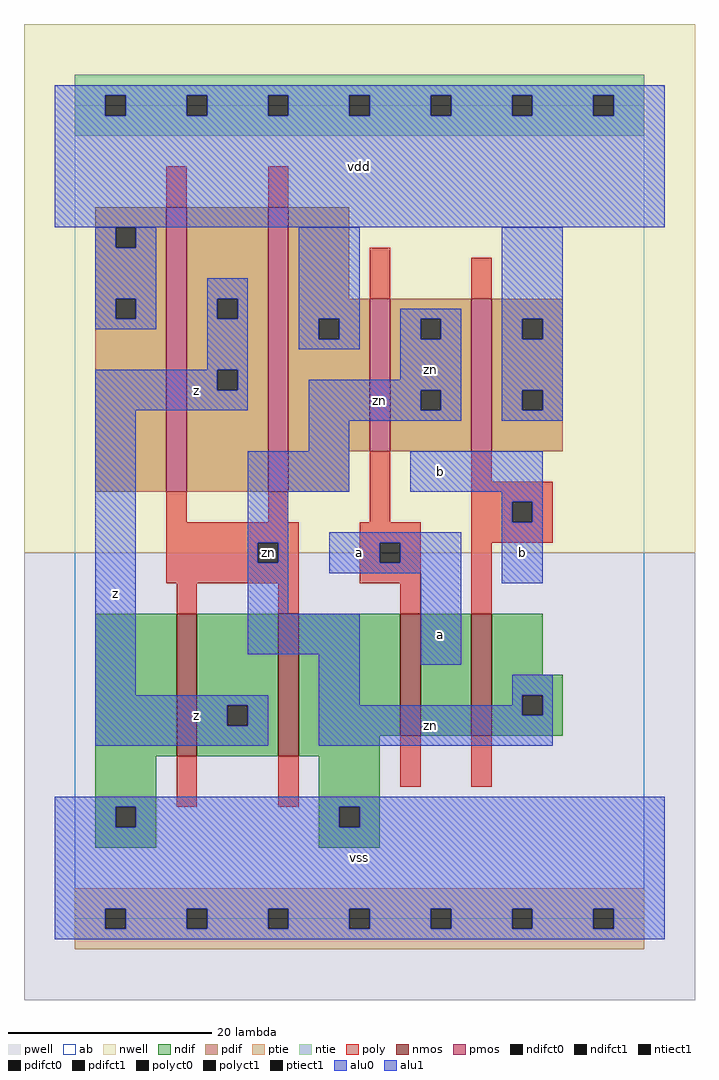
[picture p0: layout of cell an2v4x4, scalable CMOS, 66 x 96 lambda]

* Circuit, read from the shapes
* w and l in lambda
.subckt an2v4x4 a b vdd vss z zn
M1 z zn vss vss nfet w=14 l=2 m=2
M2 n1 a vss vss nfet w=12 l=2
M3 zn b n1 vss nfet w=12 l=2
M4 z zn vdd vdd pfet w=28 l=2 m=2
M5 zn a vdd vdd pfet w=15 l=2
M6 vdd b zn vdd pfet w=15 l=2
.ends

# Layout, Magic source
magic
tech scmos
<< ab >>
rect 0 0 56 80
<< nwell >>
rect -5 36 61 88
<< pwell >>
rect -5 -8 61 36
<< poly >>
rect 9 70 11 74
rect 19 70 21 74
rect 29 61 31 66
rect 39 61 41 65
rect 9 39 11 42
rect 19 39 21 42
rect 29 39 31 46
rect 39 43 41 46
rect 39 41 47 43
rect 39 39 43 41
rect 45 39 47 41
rect 9 37 22 39
rect 9 35 18 37
rect 20 35 22 37
rect 9 33 22 35
rect 28 37 34 39
rect 28 35 30 37
rect 32 35 34 37
rect 28 33 34 35
rect 10 30 12 33
rect 20 30 22 33
rect 32 30 34 33
rect 39 37 47 39
rect 39 30 41 37
rect 10 11 12 16
rect 20 11 22 16
rect 32 13 34 18
rect 39 13 41 18
<< ndif >>
rect 2 16 10 30
rect 12 21 20 30
rect 12 19 15 21
rect 17 19 20 21
rect 12 16 20 19
rect 22 18 32 30
rect 34 18 39 30
rect 41 24 46 30
rect 41 22 48 24
rect 41 20 44 22
rect 46 20 48 22
rect 41 18 48 20
rect 22 16 30 18
rect 2 11 8 16
rect 24 11 30 16
rect 2 9 4 11
rect 6 9 8 11
rect 2 7 8 9
rect 24 9 26 11
rect 28 9 30 11
rect 24 7 30 9
<< pdif >>
rect 2 68 9 70
rect 2 66 4 68
rect 6 66 9 68
rect 2 61 9 66
rect 2 59 4 61
rect 6 59 9 61
rect 2 42 9 59
rect 11 61 19 70
rect 11 59 14 61
rect 16 59 19 61
rect 11 54 19 59
rect 11 52 14 54
rect 16 52 19 54
rect 11 42 19 52
rect 21 61 27 70
rect 21 59 29 61
rect 21 57 24 59
rect 26 57 29 59
rect 21 46 29 57
rect 31 59 39 61
rect 31 57 34 59
rect 36 57 39 59
rect 31 52 39 57
rect 31 50 34 52
rect 36 50 39 52
rect 31 46 39 50
rect 41 59 48 61
rect 41 57 44 59
rect 46 57 48 59
rect 41 52 48 57
rect 41 50 44 52
rect 46 50 48 52
rect 41 46 48 50
rect 21 42 27 46
<< alu1 >>
rect -2 81 58 82
rect -2 79 3 81
rect 5 79 11 81
rect 13 79 19 81
rect 21 79 27 81
rect 29 79 35 81
rect 37 79 43 81
rect 45 79 51 81
rect 53 79 58 81
rect -2 68 58 79
rect 13 61 17 63
rect 13 59 14 61
rect 16 59 17 61
rect 13 54 17 59
rect 2 52 14 54
rect 16 52 17 54
rect 2 50 17 52
rect 2 22 6 50
rect 33 42 46 46
rect 42 41 46 42
rect 42 39 43 41
rect 45 39 46 41
rect 25 37 38 38
rect 25 35 30 37
rect 32 35 38 37
rect 25 34 38 35
rect 2 21 19 22
rect 2 19 15 21
rect 17 19 19 21
rect 2 17 19 19
rect 34 25 38 34
rect 42 33 46 39
rect -2 11 58 12
rect -2 9 4 11
rect 6 9 26 11
rect 28 9 58 11
rect -2 1 58 9
rect -2 -1 3 1
rect 5 -1 11 1
rect 13 -1 19 1
rect 21 -1 27 1
rect 29 -1 35 1
rect 37 -1 43 1
rect 45 -1 51 1
rect 53 -1 58 1
rect -2 -2 58 -1
<< ptie >>
rect 0 1 56 3
rect 0 -1 3 1
rect 5 -1 11 1
rect 13 -1 19 1
rect 21 -1 27 1
rect 29 -1 35 1
rect 37 -1 43 1
rect 45 -1 51 1
rect 53 -1 56 1
rect 0 -3 56 -1
<< ntie >>
rect 0 81 56 83
rect 0 79 3 81
rect 5 79 11 81
rect 13 79 19 81
rect 21 79 27 81
rect 29 79 35 81
rect 37 79 43 81
rect 45 79 51 81
rect 53 79 56 81
rect 0 77 56 79
<< nmos >>
rect 10 16 12 30
rect 20 16 22 30
rect 32 18 34 30
rect 39 18 41 30
<< pmos >>
rect 9 42 11 70
rect 19 42 21 70
rect 29 46 31 61
rect 39 46 41 61
<< polyct0 >>
rect 18 35 20 37
<< polyct1 >>
rect 43 39 45 41
rect 30 35 32 37
<< ndifct0 >>
rect 44 20 46 22
<< ndifct1 >>
rect 15 19 17 21
rect 4 9 6 11
rect 26 9 28 11
<< ntiect1 >>
rect 3 79 5 81
rect 11 79 13 81
rect 19 79 21 81
rect 27 79 29 81
rect 35 79 37 81
rect 43 79 45 81
rect 51 79 53 81
<< ptiect1 >>
rect 3 -1 5 1
rect 11 -1 13 1
rect 19 -1 21 1
rect 27 -1 29 1
rect 35 -1 37 1
rect 43 -1 45 1
rect 51 -1 53 1
<< pdifct0 >>
rect 4 66 6 68
rect 4 59 6 61
rect 24 57 26 59
rect 34 57 36 59
rect 34 50 36 52
rect 44 57 46 59
rect 44 50 46 52
<< pdifct1 >>
rect 14 59 16 61
rect 14 52 16 54
<< alu0 >>
rect 2 66 4 68
rect 6 66 8 68
rect 2 61 8 66
rect 2 59 4 61
rect 6 59 8 61
rect 2 58 8 59
rect 22 59 28 68
rect 22 57 24 59
rect 26 57 28 59
rect 22 56 28 57
rect 32 59 38 60
rect 32 57 34 59
rect 36 57 38 59
rect 32 53 38 57
rect 23 52 38 53
rect 23 50 34 52
rect 36 50 38 52
rect 23 49 38 50
rect 42 59 48 68
rect 42 57 44 59
rect 46 57 48 59
rect 42 52 48 57
rect 42 50 44 52
rect 46 50 48 52
rect 42 49 48 50
rect 23 46 27 49
rect 17 42 27 46
rect 17 37 21 42
rect 17 35 18 37
rect 20 35 21 37
rect 17 30 21 35
rect 17 26 28 30
rect 24 21 28 26
rect 43 22 47 24
rect 43 21 44 22
rect 24 20 44 21
rect 46 20 47 22
rect 24 17 47 20
<< labels >>
rlabel polyct0 19 36 19 36 6 zn
rlabel alu0 30 51 30 51 6 zn
rlabel alu0 35 54 35 54 6 zn
rlabel alu0 35 19 35 19 6 zn
rlabel alu1 4 32 4 32 6 z
rlabel alu1 12 20 12 20 6 z
rlabel alu1 12 52 12 52 6 z
rlabel alu1 28 6 28 6 6 vss
rlabel alu1 28 36 28 36 6 a
rlabel alu1 36 28 36 28 6 a
rlabel alu1 36 44 36 44 6 b
rlabel alu1 28 74 28 74 6 vdd
rlabel alu1 44 36 44 36 6 b
<< end >>
